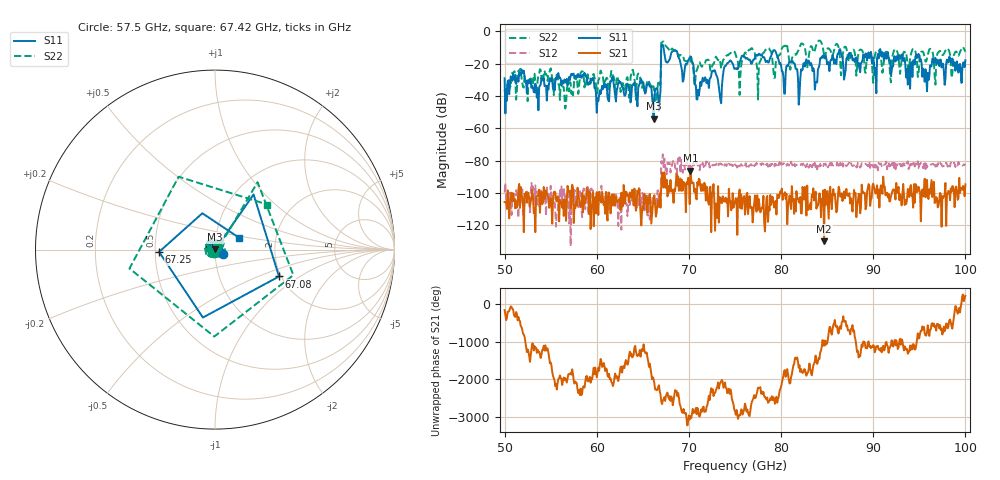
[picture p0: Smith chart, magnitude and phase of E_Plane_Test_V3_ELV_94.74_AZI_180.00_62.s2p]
! 11/26/2026 4:41:00 PM
! C:\ANRITSUVNA\TEMP\TEMP.S2P
! CHANNEL.1
! TR.MEASUREMENT
! RAW.DATA
# HZ S RI R 50.0
! FREQ.HZ  S11RE  S11IM  S21RE  S21IM  S12RE  S12IM  S22RE  S22IM
!; PortSelection: Port_12
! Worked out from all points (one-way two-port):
!   601 points, 50 GHz to 100 GHz, reference 50 ohm
!   highest |S21| = -86.25 dB at 70.17 GHz (marker M1); lowest = -130.0 dB at 84.67 GHz (marker M2)
!   lowest |S11| = -54.1 dB at 66.17 GHz (marker M3), VSWR 1.00, Z = 50.1 + j0.144 ohm
!   |S11| at or under -10 dB: start of sweep to 67 GHz; 67.24 GHz to end of sweep
!   |S22| runs from -47.7 to -5.6 dB; largest |S21 - S12| = 0.00017
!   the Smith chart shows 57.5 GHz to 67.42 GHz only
!   S11 on the Smith chart (normalised r, x): 57.5 GHz: 1.09, -0.05; 67.08 GHz: 1.95, -0.69; 67.25 GHz: 0.52, -0.01; 67.42 GHz: 1.29, +0.18
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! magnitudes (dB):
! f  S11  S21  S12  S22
! 50 GHz  -29.0  -105.7  -99.8  -35.8
! 51.67 GHz  -26.3  -109.3  -98.6  -23.3
! 53.42 GHz  -34.9  -102.4  -104.0  -35.5
! 57.5 GHz  -26.2  -118.7  -102.7  -34.7
! 58.42 GHz  -27.1  -100.0  -115.0  -24.7
! 60.17 GHz  -43.2  -113.7  -99.8  -30.4
! 66.17 GHz  -54.1  -104.2  -104.3  -34.0
! 66.67 GHz  -41.4  -104.8  -98.5  -31.6
! 67.08 GHz  -8.3  -87.4  -81.7  -6.8
! 67.25 GHz  -10.1  -96.8  -83.9  -6.2
! 67.42 GHz  -16.6  -91.6  -82.5  -8.3
! 70.17 GHz  -15.4  -86.2  -81.9  -18.5
! 70.92 GHz  -42.1  -93.4  -82.7  -23.1
! 75 GHz  -23.3  -105.3  -82.4  -13.0
! 79.25 GHz  -11.5  -109.1  -83.7  -29.0
! 80.25 GHz  -28.0  -101.2  -81.6  -9.3
! 83.42 GHz  -24.6  -102.3  -83.5  -10.8
! 84.67 GHz  -16.4  -130.0  -82.0  -14.6
! 91.67 GHz  -16.8  -100.6  -81.0  -15.2
! 94.83 GHz  -14.9  -99.1  -80.4  -28.2
! 95.83 GHz  -37.1  -91.9  -84.3  -16.6
! 100 GHz  -17.8  -94.7  -83.1  -12.6
